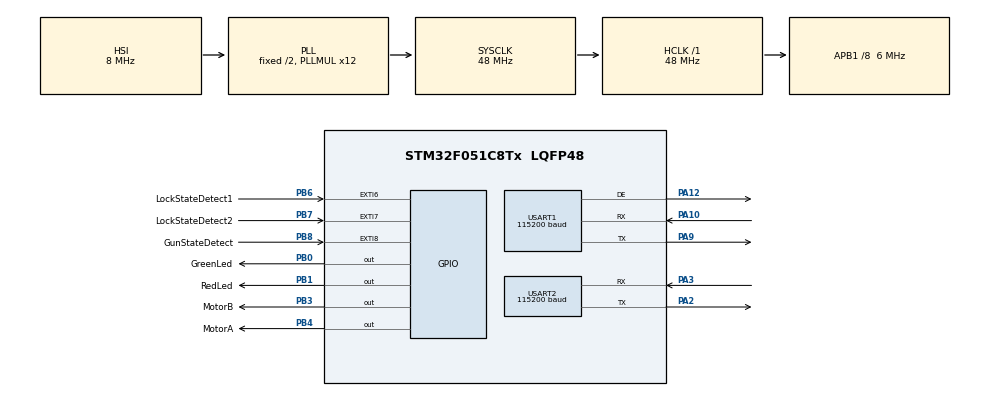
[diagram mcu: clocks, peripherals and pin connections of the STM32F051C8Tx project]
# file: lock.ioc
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Dma.Request0=USART1_RX
Dma.USART1_RX.0.Direction=DMA_PERIPH_TO_MEMORY
Dma.USART1_RX.0.Instance=DMA1_Channel3
Dma.USART1_RX.0.MemDataAlignment=DMA_MDATAALIGN_BYTE
Dma.USART1_RX.0.MemInc=DMA_MINC_ENABLE
Dma.USART1_RX.0.Mode=DMA_NORMAL
Dma.USART1_RX.0.PeriphDataAlignment=DMA_PDATAALIGN_BYTE
Dma.USART1_RX.0.PeriphInc=DMA_PINC_DISABLE
Dma.USART1_RX.0.Priority=DMA_PRIORITY_LOW
IWDG.Prescaler=IWDG_PRESCALER_32
IWDG.Reload=3750
IWDG.Window=3750
Mcu.Family=STM32F0
Mcu.Name=STM32F051C8Tx
Mcu.Package=LQFP48
NVIC.DMA1_Channel2_3_IRQn=true\:0\:0\:false\:false\:true\:false\:true\:true
NVIC.EXTI4_15_IRQn=true\:1\:0\:true\:false\:true\:true\:true\:true
NVIC.TIM14_IRQn=true\:2\:0\:true\:false\:true\:true\:true\:true
NVIC.USART1_IRQn=true\:0\:0\:false\:false\:true\:true\:true\:true
PA10.Mode=Asynchronous
PA10.Signal=USART1_RX
PA12.Mode=Hardware Flow Control (RS485)
PA12.Signal=USART1_DE
PA2.Mode=Asynchronous
PA2.Signal=USART2_TX
PA3.Mode=Asynchronous
PA3.Signal=USART2_RX
PA9.Mode=Asynchronous
PA9.Signal=USART1_TX
PB0.GPIO_Label=GreenLed
PB0.GPIO_Speed=GPIO_SPEED_FREQ_HIGH
PB0.PinState=GPIO_PIN_SET
PB0.Signal=GPIO_Output
PB1.GPIO_Label=RedLed
PB1.GPIO_Speed=GPIO_SPEED_FREQ_HIGH
PB1.PinState=GPIO_PIN_SET
PB1.Signal=GPIO_Output
PB3.GPIO_Label=MotorB
PB3.GPIO_Speed=GPIO_SPEED_FREQ_HIGH
PB3.PinState=GPIO_PIN_RESET
PB3.Signal=GPIO_Output
PB4.GPIO_Label=MotorA
PB4.GPIO_Speed=GPIO_SPEED_FREQ_HIGH
PB4.PinState=GPIO_PIN_RESET
PB4.Signal=GPIO_Output
PB6.GPIO_Label=LockStateDetect1
PB6.GPIO_ModeDefaultEXTI=GPIO_MODE_IT_RISING_FALLING
PB6.Signal=GPXTI6
PB7.GPIO_Label=LockStateDetect2
PB7.GPIO_ModeDefaultEXTI=GPIO_MODE_IT_RISING_FALLING
PB7.Signal=GPXTI7
PB8.GPIO_Label=GunStateDetect
PB8.GPIO_ModeDefaultEXTI=GPIO_MODE_IT_RISING_FALLING
PB8.Signal=GPXTI8
ProjectManager.HeapSize=0x200
ProjectManager.StackSize=0x400
ProjectManager.TargetToolchain=MDK-ARM V5.32
RCC.AHBFreq_Value=48000000
RCC.APB1CLKDivider=RCC_HCLK_DIV8
RCC.APB1Freq_Value=6000000
RCC.APB1TimFreq_Value=12000000
RCC.HCLKFreq_Value=48000000
RCC.PLLMUL=RCC_PLL_MUL12
RCC.SYSCLKFreq_VALUE=48000000
RCC.SYSCLKSource=RCC_SYSCLKSOURCE_PLLCLK
TIM14.AutoReloadPreload=TIM_AUTORELOAD_PRELOAD_ENABLE
TIM14.Period=1201
TIM14.Prescaler=1000
USART1.BaudRate=115200
USART1.Parity=PARITY_NONE
USART1.VirtualMode-Asynchronous=VM_ASYNC
USART1.VirtualMode-Hardware\ Flow\ Control\ (RS485)=VM_ASYNC
USART2.BaudRate=115200
USART2.VirtualMode-Asynchronous=VM_ASYNC
VP_IWDG_VS_IWDG.Mode=IWDG_Activate
VP_TIM14_VS_ClockSourceINT.Mode=Enable_Timer
board=custom

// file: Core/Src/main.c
/* USER CODE BEGIN Header */
/**
  ******************************************************************************
  * @file           : main.c
  * @brief          : Main program body
  ******************************************************************************
  * @attention
  *
  * Copyright (c) 2022 STMicroelectronics.
  * All rights reserved.
  *
  * This software is licensed under terms that can be found in the LICENSE file
  * in the root directory of this software component.
  * If no LICENSE file comes with this software, it is provided AS-IS.
  *
  ******************************************************************************
  */
/* USER CODE END Header */
#include "main.h"
// #include "dma.h"
#include "iwdg.h"
#include "tim.h"
#include "usart.h"
#include "gpio.h"

/* USER CODE BEGIN Includes */
#include <stdio.h>
#include "user_protocol.h"
#include "common.h"
#include "user_data.h"
/* USER CODE END Includes */

/* USER CODE BEGIN PV */
lock_ctrl_t lock;
/* USER CODE END PV */

void SystemClock_Config(void);

/* USER CODE BEGIN 0 */

/**
 *
 * @brief  设置RDP Level 1,禁止通过SWD烧录口读写Flash
 * 开启后，只能通过cubemxprammer或者其他烧录器来解除保护，解除保护会擦掉flash
 * 开启RDP Level 1保护，禁止通过SWD烧录口读写Flash。调试时关掉读写保护
 * 开启后，SWD口硬件线路未与stlink断开，且PC端在操作STlink时，会导致MCU程序卡死
 */

#define OPEN_RDPLEVEL_1   // 打开读保护 Level 1
FLASH_OBProgramInitTypeDef obInit;

void InterruptRemap(void)
{
	__HAL_RCC_SYSCFG_CLK_ENABLE();
	memcpy((void*)RAM_ADDRESS_START, (void*)APPLICATION_ADDRESS, VECTOR_SIZE);
	__HAL_SYSCFG_REMAPMEMORY_SRAM();
  __enable_irq();//如果bootloader关闭中断，这里必须打开中断，否则会导致中断无法响应
}
/* USER CODE END 0 */

void Set_RDP_Level1(void)
{
    HAL_FLASH_Unlock();         // 解锁主 Flash
    HAL_FLASH_OB_Unlock();      // 解锁 Option Bytes
    // 读取当前 Option Bytes 设置
    HAL_FLASHEx_OBGetConfig(&obInit);
    // 判断是否已设置为 Level 1，避免重复操作
    if (obInit.RDPLevel != OB_RDP_LEVEL_1)
    {
        obInit.OptionType = OPTIONBYTE_RDP;
        obInit.RDPLevel = OB_RDP_LEVEL_1;

        // 配置 RDP Level 1
        if (HAL_FLASHEx_OBProgram(&obInit) != HAL_OK)
        {
            printf("set RDP Level 1 fail!\r\n");// 可以继续执行其他初始化
            return;
        }

        // 启动 Option Bytes 加载，MCU 会复位
        HAL_FLASH_OB_Launch();
    }

    HAL_FLASH_OB_Lock();   // 锁定 Option Bytes
    HAL_FLASH_Lock();      // 锁定 Flash
}

  int main(void)
{
  /* USER CODE BEGIN 1 */
	InterruptRemap();
  /* USER CODE END 1 */

  /* MCU Configuration--------------------------------------------------------*/

  /* Reset of all peripherals, Initializes the Flash interface and the Systick. */
  HAL_Init();

  /* USER CODE BEGIN Init */
	user_database_init();
  /* USER CODE END Init */
  #ifdef OPEN_RDPLEVEL_1
  Set_RDP_Level1();
  #endif
  /* Configure the system clock */
  SystemClock_Config();

  /* Initialize all configured peripherals */
  MX_GPIO_Init();
  // MX_DMA_Init();
  MX_USART1_UART_Init();
  MX_USART2_UART_Init();
  MX_TIM14_Init();
  MX_IWDG_Init();
  /* USER CODE BEGIN 2 */
  printSetting();
	lock_state_init();
  sync_boot_env();
  /* USER CODE END 2 */

  /* Infinite loop */
  while (1)
  {

    /* USER CODE BEGIN 3 */
		MX_IWDG_Refresh();
		user_protocol_handle();
    MotorTask();
    Led_Task();
		Auto_Lock_Task();
    user_reply_handle();
		user_huart_error_check();
    lock_stop_wait_done();
  }
  /* USER CODE END 3 */
}

void SystemClock_Config(void)
{
  RCC_OscInitTypeDef RCC_OscInitStruct = {0};
  RCC_ClkInitTypeDef RCC_ClkInitStruct = {0};
  RCC_PeriphCLKInitTypeDef PeriphClkInit = {0};

  /** Initializes the RCC Oscillators according to the specified parameters
  * in the RCC_OscInitTypeDef structure.
  */
  RCC_OscInitStruct.OscillatorType = RCC_OSCILLATORTYPE_HSI|RCC_OSCILLATORTYPE_LSI;
  RCC_OscInitStruct.HSIState = RCC_HSI_ON;
  RCC_OscInitStruct.HSICalibrationValue = RCC_HSICALIBRATION_DEFAULT;
  RCC_OscInitStruct.LSIState = RCC_LSI_ON;
  RCC_OscInitStruct.PLL.PLLState = RCC_PLL_ON;
  RCC_OscInitStruct.PLL.PLLSource = RCC_PLLSOURCE_HSI;
  RCC_OscInitStruct.PLL.PLLMUL = RCC_PLL_MUL12;
  RCC_OscInitStruct.PLL.PREDIV = RCC_PREDIV_DIV1;
  if (HAL_RCC_OscConfig(&RCC_OscInitStruct) != HAL_OK)
  {
    Error_Handler();
  }

  /** Initializes the CPU, AHB and APB buses clocks
  */
  RCC_ClkInitStruct.ClockType = RCC_CLOCKTYPE_HCLK|RCC_CLOCKTYPE_SYSCLK
                              |RCC_CLOCKTYPE_PCLK1;
  RCC_ClkInitStruct.SYSCLKSource = RCC_SYSCLKSOURCE_PLLCLK;
  RCC_ClkInitStruct.AHBCLKDivider = RCC_SYSCLK_DIV1;
  RCC_ClkInitStruct.APB1CLKDivider = RCC_HCLK_DIV8;

  if (HAL_RCC_ClockConfig(&RCC_ClkInitStruct, FLASH_LATENCY_1) != HAL_OK)
  {
    Error_Handler();
  }
  PeriphClkInit.PeriphClockSelection = RCC_PERIPHCLK_USART1;
  PeriphClkInit.Usart1ClockSelection = RCC_USART1CLKSOURCE_PCLK1;
  if (HAL_RCCEx_PeriphCLKConfig(&PeriphClkInit) != HAL_OK)
  {
    Error_Handler();
  }
}

void Error_Handler(void)
{
  __disable_irq();
  while (1)
  {
  }
}
